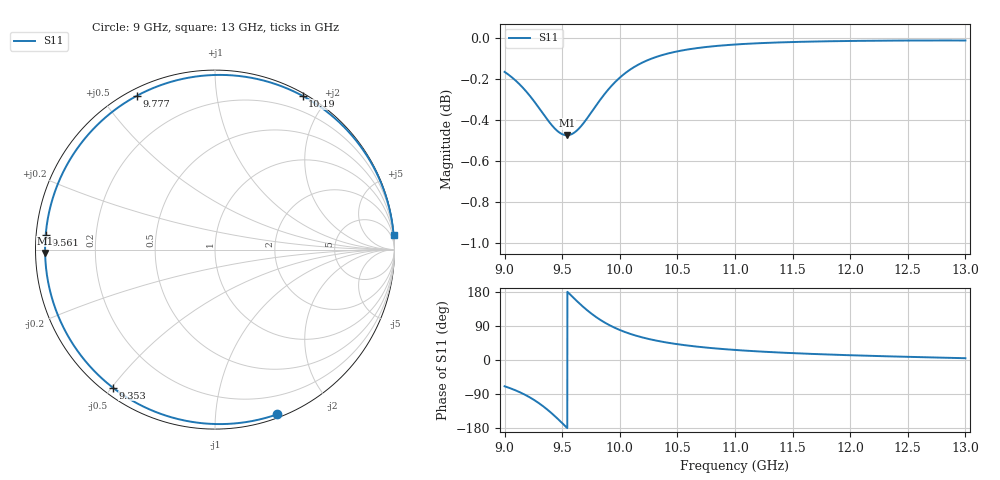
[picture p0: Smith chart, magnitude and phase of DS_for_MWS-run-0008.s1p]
! TOUCHSTONE file generated by CST DESIGN STUDIO
! Date and time: Wed Feb  5 13:18:21 2025
! Project name: C:\Work\MatlabApps\UnitCellOptimizationMatlab\CST\unitcell.cst
! Tree item: Tasks\Sweep1\SPara1\S-Parameters
! Header version: 2024
! Port assignment regex: !\s*Touchstone port\s*([0-9]+)\s*=\s*(CST MWS port|CST DES external port|CST DES block port)\s*(.+)\s* \(\"(.*)\"\)(\s*mode\s*([0-9]+))?.*
! Touchstone port assignment:
! Touchstone port 1 = CST DES external port 1 ("")
# GHz S MA R 50
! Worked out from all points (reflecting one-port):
!   4001 points, 9 GHz to 13 GHz, reference 50 ohm
!   lowest |S11| = -0.5 dB at 9.541 GHz (marker M1), VSWR 36.59, Z = 1.37 - j0.506 ohm
!   phase of S11 starts at -69 deg and turns -286 deg over the sweep
!   S11 on the Smith chart (normalised r, x): 9 GHz: 0.03, -1.45; 9.353 GHz: 0.03, -0.50; 9.561 GHz: 0.03, +0.04; 9.777 GHz: 0.03, +0.61; 10.19 GHz: 0.03, +1.72; 13 GHz: 0, +24
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9  0.981 -69.3
9.1  0.976 -80.7
9.209  0.9687 -97.0
9.285  0.9625 -111.3
9.353  0.9567 -126.5
9.423  0.9512 -144.5
9.463  0.9488 -155.7
9.5  0.9474 -166.6
9.541  0.9468 -178.8
9.561  0.9469 175.1
9.615  0.9487 159.1
9.675  0.9525 142.2
9.726  0.9566 129.0
9.777  0.9612 117.1
9.824  0.9653 107.2
9.876  0.9695 97.6
9.933  0.9737 88.4
10  0.9778 79.2
10.089  0.9822 69.1
10.186  0.9858 60.4
10.329  0.9895 50.4
10.5  0.9923 41.7
10.721  0.9945 33.7
11  0.9961 26.5
11.5  0.9975 18.1
12  0.9981 12.6
12.5  0.9983 8.3
13  0.9984 4.7
